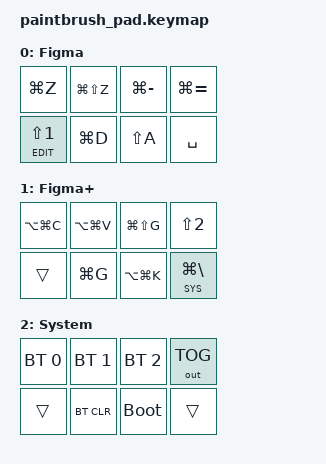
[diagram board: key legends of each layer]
/*
 * ARTSEY Paintbrush as a Figma macropad (macOS shortcuts). Edit this file,
 * push, and GitHub Actions builds a new .uf2.
 * Positions are numbered 0-3 (top row) and 4-7 (bottom row).
 *
 * SPDX-License-Identifier: MIT
 */

#include <behaviors.dtsi>
#include <dt-bindings/zmk/keys.h>
#include <dt-bindings/zmk/bt.h>
#include <dt-bindings/zmk/outputs.h>

#define FIGMA 0
#define EDIT  1
#define SYS   2

// "balanced": holding a layer key and tapping another key counts as a hold
// right away, so you don't have to wait out the tapping term.
&lt {
    flavor = "balanced";
    tapping-term-ms = <200>;
};

/ {
    keymap {
        compatible = "zmk,keymap";

        figma_layer {
            display-name = "Figma";
            // -------------------------------------------------------------
            // |  Undo  ⌘Z     |  Redo ⇧⌘Z  |  Zoom out ⌘-   |  Zoom in ⌘=   |
            // |  Fit ⇧1/EDIT  |  Dup  ⌘D   |  Auto layout ⇧A |  Space (pan) |
            // -------------------------------------------------------------
            // Bottom-left: tap = zoom to fit, hold = Edit layer.
            // Bottom-right: hold and drag to pan the canvas.
            bindings = <
                &kp LG(Z)          &kp LG(LS(Z))   &kp LG(MINUS)   &kp LG(EQUAL)
                &lt EDIT LS(N1)    &kp LG(D)       &kp LS(A)       &kp SPACE
            >;
        };

        edit_layer {
            display-name = "Figma+";
            // -------------------------------------------------------------------
            // |  Copy props ⌥⌘C |  Paste props ⌥⌘V |  Ungroup ⇧⌘G |  Zoom sel ⇧2   |
            // |  (held)         |  Group ⌘G        |  Component ⌥⌘K | UI ⌘\ / SYS  |
            // -------------------------------------------------------------------
            // Bottom-right: tap = show/hide UI, hold = System layer.
            bindings = <
                &kp LA(LG(C))   &kp LA(LG(V))   &kp LG(LS(G))   &kp LS(N2)
                &trans          &kp LG(G)       &kp LA(LG(K))   &lt SYS LG(BSLH)
            >;
        };

        sys_layer {
            display-name = "System";
            // ---------------------------------------
            // |  BT 0   |  BT 1    |  BT 2       |  USB/BT toggle |
            // |  (held) |  BT clr  |  Bootloader |  (held)        |
            // ---------------------------------------
            bindings = <
                &bt BT_SEL 0   &bt BT_SEL 1   &bt BT_SEL 2   &out OUT_TOG
                &trans         &bt BT_CLR     &bootloader    &trans
            >;
        };
    };
};
